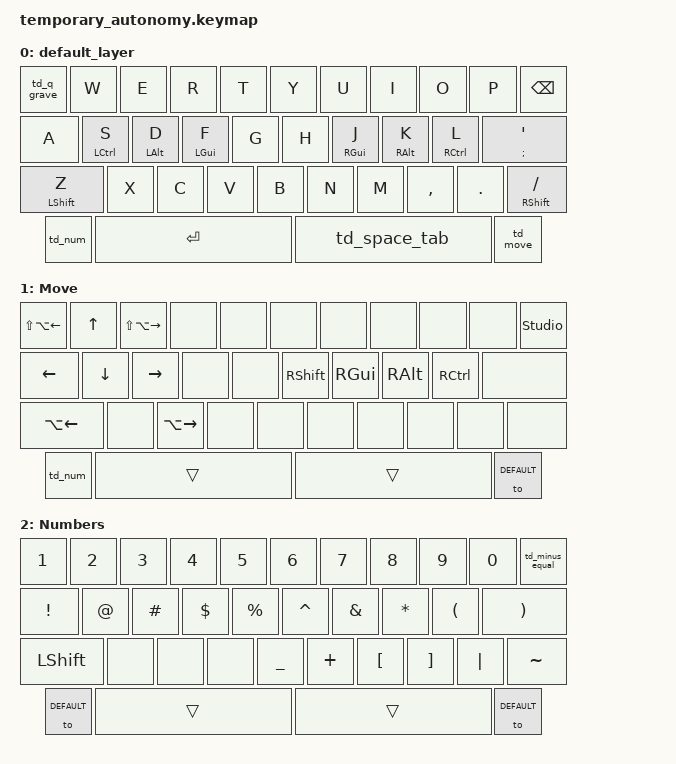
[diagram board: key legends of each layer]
#include <behaviors.dtsi>
#include <dt-bindings/zmk/keys.h>

#define DEFAULT 0
#define MOVE   1
#define NUM   2

/ {
    combos {
        compatible = "zmk,combos";
        combo_esc {
            timeout-ms = <50>;
            key-positions = <0 1>;
            bindings = <&kp ESC>;
        };

        combo_del {
            timeout-ms = <50>;
            key-positions = <10 11>;
            bindings = <&kp BSPC>;
        };

        combo_colon {
            timeout-ms = <50>;
            key-positions = <19 20>;
            bindings = <&kp SEMI>;
        };
    };

    behaviors {
        td_move: td_move {
            compatible = "zmk,behavior-tap-dance";
            #binding-cells = <0>;
            tapping-term-ms = <200>;
            bindings = <&mo MOVE>, <&to MOVE>;
        };

        td_num: td_num {
            compatible = "zmk,behavior-tap-dance";
            #binding-cells = <0>;
            tapping-term-ms = <200>;
            bindings = <&mo NUM>, <&to NUM>;
        };

        td_q_grave: td_q_grave {
            compatible = "zmk,behavior-tap-dance";
            #binding-cells = <0>;
            tapping-term-ms = <200>;
            bindings = <&kp Q>, <&kp GRAVE>;
        };

        td_space_tab: td_space_tab {
            compatible = "zmk,behavior-tap-dance";
            #binding-cells = <0>;
            tapping-term-ms = <200>;
            bindings = <&kp SPACE>, <&kp TAB>;
        };

        td_minus_equal: td_minus_equal {
            compatible = "zmk,behavior-tap-dance";
            #binding-cells = <0>;
            tapping-term-ms = <200>;
            bindings = <&kp MINUS>, <&kp EQUAL>;
        };
    };

  keymap {
    compatible = "zmk,keymap";

    default_layer {
      bindings = <
        &td_q_grave   &kp W        &kp E       &kp R           &kp T        &kp Y            &kp U          &kp I            &kp O        &kp P           &kp BSPC
        &kp A         &mt LCTRL S  &mt LALT D  &mt LGUI F      &kp G        &kp H            &mt RGUI J     &mt RALT K       &mt RCTRL L  &mt SEMI SQT
        &mt LSHIFT Z  &kp X        &kp C       &kp V           &kp B        &kp N            &kp M          &kp COMMA        &kp DOT      &mt RSHIFT SLASH
                      &td_num                 &kp RET                      &td_space_tab                    &td_move
      >;
    };

    move_layer {
      label = "Move";
      display-name = "Move";
      bindings = <
        &kp LS(LA(LEFT))    &kp UP      &kp LS(LA(RIGHT))    &none      &none     &none         &none     &none     &none       &none   &studio_unlock
        &kp LEFT            &kp DOWN    &kp RIGHT            &none      &none     &kp RSHIFT    &kp RGUI  &kp RALT  &kp RCTRL   &none
        &kp LA(LEFT)        &none       &kp LA(RIGHT)        &none      &none     &none         &none     &none     &none       &none
                            &td_num                          &trans              &trans      &to DEFAULT
      >;
    };

    num_layer {
      label = "Numbers";
      display-name = "Numbers";
      bindings = <
        &kp N1      &kp N2   &kp N3     &kp 4      &kp N5      &kp N6      &kp N7      &kp N8      &kp N9      &kp N0     &td_minus_equal
        &kp EXCL    &kp AT   &kp HASH   &kp DLLR   &kp PRCNT   &kp CARET   &kp AMPS    &kp STAR    &kp LPAR    &kp RPAR
        &kp LSHIFT  &none    &none      &none      &kp UNDER   &kp PLUS    &kp LBKT    &kp RBKT    &kp PIPE    &kp TILDE
                    &to DEFAULT              &trans           &trans                  &to DEFAULT
      >;
    };

    extra1 {
        status = "reserved";
    };

    extra2 {
        status = "reserved";
    };
  };
};
